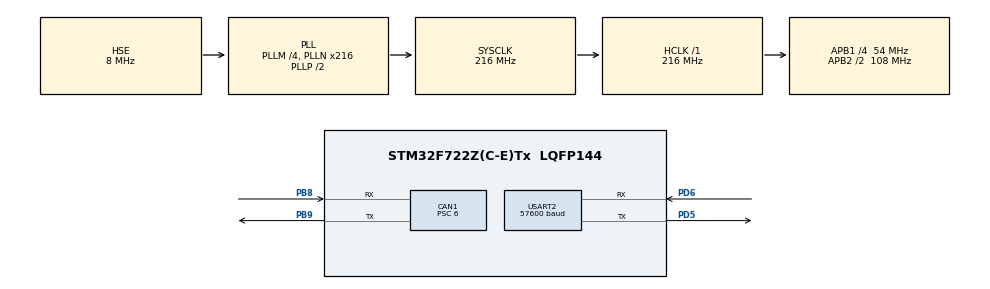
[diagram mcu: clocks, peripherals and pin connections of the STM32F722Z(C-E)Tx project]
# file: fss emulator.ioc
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CAN1.BS1=CAN_BS1_7TQ
CAN1.CalculateBaudRate=1000000
CAN1.CalculateTimeBit=1000
CAN1.CalculateTimeQuantum=111.11111111111111
CAN1.Prescaler=6
Dma.Request0=USART2_RX
Dma.USART2_RX.0.Direction=DMA_PERIPH_TO_MEMORY
Dma.USART2_RX.0.FIFOMode=DMA_FIFOMODE_DISABLE
Dma.USART2_RX.0.Instance=DMA1_Stream5
Dma.USART2_RX.0.MemDataAlignment=DMA_MDATAALIGN_BYTE
Dma.USART2_RX.0.MemInc=DMA_MINC_ENABLE
Dma.USART2_RX.0.Mode=DMA_NORMAL
Dma.USART2_RX.0.PeriphDataAlignment=DMA_PDATAALIGN_BYTE
Dma.USART2_RX.0.PeriphInc=DMA_PINC_DISABLE
Dma.USART2_RX.0.Priority=DMA_PRIORITY_LOW
Mcu.Family=STM32F7
Mcu.Name=STM32F722Z(C-E)Tx
Mcu.Package=LQFP144
NVIC.CAN1_RX0_IRQn=true\:0\:0\:false\:false\:true\:true\:true\:true
NVIC.DMA1_Stream5_IRQn=true\:0\:0\:false\:false\:true\:false\:true\:true
NVIC.PriorityGroup=NVIC_PRIORITYGROUP_4
NVIC.USART2_IRQn=true\:0\:0\:false\:false\:true\:true\:true\:true
PB8.Mode=CAN_Activate
PB8.Signal=CAN1_RX
PB9.Mode=CAN_Activate
PB9.Signal=CAN1_TX
PD5.Mode=Asynchronous
PD5.Signal=USART2_TX
PD6.Mode=Asynchronous
PD6.Signal=USART2_RX
PH0-OSC_IN.Mode=HSE-External-Clock-Source
PH0-OSC_IN.Signal=RCC_OSC_IN
PH1-OSC_OUT.Mode=HSE-External-Clock-Source
PH1-OSC_OUT.Signal=RCC_OSC_OUT
ProjectManager.HeapSize=0x200
ProjectManager.StackSize=0x400
ProjectManager.TargetToolchain=STM32CubeIDE
RCC.48MHZClocksFreq_Value=24000000
RCC.AHBFreq_Value=216000000
RCC.APB1CLKDivider=RCC_HCLK_DIV4
RCC.APB1Freq_Value=54000000
RCC.APB1TimFreq_Value=108000000
RCC.APB2CLKDivider=RCC_HCLK_DIV2
RCC.APB2Freq_Value=108000000
RCC.APB2TimFreq_Value=216000000
RCC.CortexFreq_Value=216000000
RCC.EnbaleCSS=true
RCC.HCLKFreq_Value=216000000
RCC.HSE_VALUE=8000000
RCC.HSI_VALUE=16000000
RCC.LSE_VALUE=32768
RCC.PLLM=4
RCC.PLLMUL=RCC_PLL_MUL9
RCC.PLLN=216
RCC.PLLQ=9
RCC.PLLSourceVirtual=RCC_PLLSOURCE_HSE
RCC.PRESCALERUSB=RCC_USBCLKSOURCE_PLL_DIV1_5
RCC.SYSCLKFreq_VALUE=216000000
RCC.SYSCLKSource=RCC_SYSCLKSOURCE_PLLCLK
RCC.SYSCLKSourceVirtual=RCC_SYSCLKSOURCE_PLLCLK
RCC.USBFreq_Value=48000000
RCC.VCOOutputFreq_Value=432000000
USART2.BaudRate=57600
USART2.VirtualMode-Asynchronous=VM_ASYNC
board=NUCLEO-F722ZE

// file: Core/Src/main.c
/* USER CODE BEGIN Header */
/**
  ******************************************************************************
  * @file           : main.c
  * @brief          : Main program body
  ******************************************************************************
  * @attention
  *
  * Copyright (c) 2025 STMicroelectronics.
  * All rights reserved.
  *
  * This software is licensed under terms that can be found in the LICENSE file
  * in the root directory of this software component.
  * If no LICENSE file comes with this software, it is provided AS-IS.
  *
  ******************************************************************************
  */
/* USER CODE END Header */
#include "main.h"

/* USER CODE BEGIN Includes */
#define FEND 0xC0
#include "core_cm7.h"
#include <string.h>

/* USER CODE END Includes */

/* USER CODE BEGIN PTD */
enum  nsp_command_code
{
	ping = 0,
	init = 1,
	peek = 2,
	poke = 3,
	telemetry = 4,
	crc = 6,
	app_telemetry = 7,
	app_command = 8,

};

enum  command_ack_byte
{
	ping_ack = 0xA0,
	init_ack = 0xA1,
	peek_ack = 0xA2,
	poke_ack = 0xA3,
	telemetry_ack = 0xA4,
	crc_ack = 0xA6,
	app_telemetry_ack = 0xA7,
	app_command_ack = 0xA8,

};

enum  fss_memory_map
{
	peek_flash_start = 0x00000000,
	flash_start = 0x00001000,
	special_test_mode = 0x00002000,
	flash_end	= 0x00007DFF,
	xram_start  = 0x00010000,
	xram_end    = 0x000107FF,
	iram_start  = 0x00020000,
	iram_end    = 0x000200FF,
	sfr_start   = 0x00030080,
	sfr_end     = 0x000300FF,
};

enum telemetry_address
{

	last_reset_reason = 0,
	reset_count = 1,
	framing_error_count = 2,
	runt_packet_count = 3,
	oversize_packet_size = 4,
	bad_crc_count = 5,

};

enum  last_reset_code
{

	power_cycle = 0,
	realtime_clock_reset = 1,
	flash_memory_reset = 2,
    comparator0_reset = 3,
	watchdog_timer_reset = 4,
	missing_clock_reset = 5,
	external_reset_pin_reset = 6,
	init_reset = 7,
	application_triggered_reset = 8,

};

enum  image_buffer
{
	operating_image = 4,
	offline_image   = 5,

};

enum app_telemetry_channel
{

	go_code_tlm = 0x0,
	exposure_tlm = 0x1,
	brightness_tlm = 0x2,
	temperature = 0x3,
	vector_float_tlm = 0x6,
	iteration_tlm = 0x7,
	process_time_tlm = 0x8,
	vector_int_tlm = 0x9,
	diag_tlm = 0xD,
	celsius_temperature = 0xE,
	addr = 0xF,
	reply_addr = 0x10

};

typedef struct{

	uint8_t command_code : 5;
	uint8_t ack_bit : 1 ;
	uint8_t b_bit : 1;
	uint8_t poll_bit : 1;

}nsp_message_control_field;

typedef struct{
	uint8_t aec_enabled : 1;
	uint8_t exposure_enabled :1;
	uint8_t dark_subtract_enabled : 1;
	uint8_t readout_enabled : 1;
	uint8_t cpy_to_offline_enabled : 1;
	uint8_t cpy_from_offline_enabled : 1;
	uint8_t fit_enabled : 1;
	uint8_t reserved : 1;

}go_code;

typedef struct{
	uint8_t fend_start;
	uint8_t dest_addr;
	uint8_t src_addr;
	uint8_t mcf;
	uint32_t init_addr;
	uint16_t crc;
	uint8_t fend_end;

}init_t;

typedef struct __attribute__((packed)) {
	uint8_t fend_start;
	uint8_t dest_addr;
	uint8_t src_addr;
	uint8_t mcf;
	uint8_t tlm_byte;
	float sun_vector_x;
	float sun_vector_y;
	float sun_vector_z;
	uint8_t fit_quality;
	uint8_t geometry_quality;
	uint16_t crc;
	uint8_t fend_end;
} sun_vector_t;

typedef struct{

	uint8_t fend_start;
	uint8_t dest_addr;
	uint8_t src_addr;
	uint8_t mcf;
	uint8_t tlm_byte;
	uint16_t crc;
	uint8_t fend_end;

}rx_sun_vector_t;

typedef struct{

	uint8_t fend_start;
	uint8_t dest_addr;
	uint8_t src_addr;
	uint8_t mcf;
	uint8_t byte;
	uint8_t go_code_byte;
	uint16_t crc;
	uint8_t fend_end;

}rx_application_command_t;

typedef struct{

	uint8_t fend_start;
	uint8_t dest_addr;
	uint8_t src_addr;
	uint8_t mcf;
	uint16_t crc;
	uint8_t fend_end;

}tx_application_command_t;

/* USER CODE END PTD */

CAN_HandleTypeDef hcan1;

UART_HandleTypeDef huart2;
DMA_HandleTypeDef hdma_usart2_rx;

/* USER CODE BEGIN PV */
const uint8_t device_id = 0x39;
nsp_message_control_field message_control_t;
uint8_t RxBuffer[64];
uint8_t float_sun_vector[4] = {0x39,0x11,0xA7,0x06};
uint16_t rxLen;
uint8_t isInit = 0;
uint16_t RxCRC;
uint16_t calCRC;

uint64_t time_start;
uint64_t time_diff;
uint32_t over_head;
init_t rx_init_t;
init_t tx_init_t;
rx_sun_vector_t rx_sun_vector;
sun_vector_t tx_sun_vector;
rx_application_command_t rx_app_command;
tx_application_command_t tx_app_command;
uint8_t command_type = 0;
float vector[3];
uint8_t can_data[8];
uint8_t buffer[22];
CAN_RxHeaderTypeDef RxHeader;

/* USER CODE END PV */

void SystemClock_Config(void);
static void MX_GPIO_Init(void);
static void MX_DMA_Init(void);
static void MX_CAN1_Init(void);
static void MX_USART2_UART_Init(void);
/* USER CODE BEGIN PFP */

uint16_t message_crc16(const uint8_t* data, size_t len) {
    const uint16_t POLY = 0x8408;
    uint16_t crc = 0xFFFF;

    while (len-- > 0) {
        uint8_t ch = *data++;
        for (int i = 0; i < 8; i++) {
            if ((ch ^ crc) & 0x01) {
                crc = (crc >> 1) ^ POLY;
            } else {
                crc >>= 1;
            }
            ch >>= 1;
        }
    }

    return crc;
}

uint8_t nsp_message_control_field_encode(uint8_t command_code,uint8_t ack_bit,uint8_t b_bit,uint8_t poll_bit)
{

	uint8_t msg_ctrl;

	msg_ctrl |= command_code & 0x1F;
	msg_ctrl |= (ack_bit & 0x01) << 5;
	msg_ctrl |= (b_bit & 0x01) << 6;
	msg_ctrl |= (poll_bit & 0x01) << 7;

    return msg_ctrl;

}

void nsp_message_control_field_decode(uint8_t message_control_field)
{
	message_control_t.command_code = message_control_field & 0x1F;
	message_control_t.ack_bit = (message_control_field >> 5) & 0x01;
	message_control_t.b_bit = (message_control_field >> 6) & 0x01;
	message_control_t.poll_bit = (message_control_field >> 7) & 0x01;
}

void DWT_Init(void) {
    // Enable DWT
    CoreDebug->DEMCR |= CoreDebug_DEMCR_TRCENA_Msk;

    // Reset the cycle counter
    DWT->CYCCNT = 0;

    // Enable the cycle counter
    DWT->CTRL |= DWT_CTRL_CYCCNTENA_Msk;
}

uint32_t DWT_GetClockCycle(void) {
    return DWT->CYCCNT;
}

void can_filter_config()
{

	CAN_FilterTypeDef canFilterConfig;

	canFilterConfig.FilterActivation = ENABLE;
	canFilterConfig.FilterBank = 0;  // Filter bank number
	canFilterConfig.FilterMode = CAN_FILTERMODE_IDMASK;  // Mask mode
	canFilterConfig.FilterScale = CAN_FILTERSCALE_32BIT; // 32-bit filter
	canFilterConfig.FilterIdHigh = 0x0000;
	canFilterConfig.FilterIdLow = 0x0000;
	canFilterConfig.FilterMaskIdHigh = 0x0000;
	canFilterConfig.FilterMaskIdLow = 0x0000;
	canFilterConfig.FilterFIFOAssignment = CAN_RX_FIFO0; // FIFO assignment
	canFilterConfig.SlaveStartFilterBank = 14; // For dual CAN (optional)

	if (HAL_CAN_ConfigFilter(&hcan1, &canFilterConfig) != HAL_OK) {
	    // Handle error
	}

}

/* USER CODE END PFP */

int main(void)
{

  /* USER CODE BEGIN 1 */
	tx_init_t.fend_start = FEND;
	tx_init_t.src_addr = device_id;
	tx_init_t.mcf = 0xA1;
	tx_init_t.fend_end = FEND;

	tx_app_command.fend_start = FEND;
	tx_app_command.src_addr = device_id;
    tx_app_command.mcf = 0xA8;
	tx_app_command.fend_end = FEND;

	tx_sun_vector.fend_start = FEND;
	tx_sun_vector.src_addr = device_id;
	tx_sun_vector.mcf = 0xA7;
	tx_sun_vector.fit_quality = 0xFD;
	tx_sun_vector.geometry_quality = 0x00;
	tx_sun_vector.fend_end = FEND;

  /* USER CODE END 1 */

  /* MCU Configuration--------------------------------------------------------*/

  /* Reset of all peripherals, Initializes the Flash interface and the Systick. */
  HAL_Init();

  /* Configure the system clock */
  SystemClock_Config();

  /* Initialize all configured peripherals */
  MX_GPIO_Init();
  MX_DMA_Init();
  MX_CAN1_Init();
  MX_USART2_UART_Init();
  /* USER CODE BEGIN 2 */
  DWT_Init();
  HAL_CAN_Start(&hcan1);
  can_filter_config();
  HAL_CAN_ActivateNotification(&hcan1, CAN_IT_RX_FIFO0_MSG_PENDING);
  HAL_UARTEx_ReceiveToIdle_DMA(&huart2, RxBuffer, sizeof(RxBuffer));
  /* USER CODE END 2 */

  /* Infinite loop */
  while (1)
  {

    /* USER CODE BEGIN 3 */

	  if(isInit == 1)
	  {
		    switch (command_type) {

		        case 2:
		            HAL_UART_Transmit(&huart2,(uint8_t*)&tx_sun_vector,22,1000 );
		            command_type = 0;
		            break;
		        case 3:
		            HAL_UART_Transmit(&huart2,(uint8_t *)&tx_app_command,sizeof(tx_app_command)-1,1000 );
		            command_type = 0;
		            break;
		        default:

		            break;
		    }

	  }

  }
  /* USER CODE END 3 */
}

void SystemClock_Config(void)
{
  RCC_OscInitTypeDef RCC_OscInitStruct = {0};
  RCC_ClkInitTypeDef RCC_ClkInitStruct = {0};

  /** Configure the main internal regulator output voltage
  */
  __HAL_RCC_PWR_CLK_ENABLE();
  __HAL_PWR_VOLTAGESCALING_CONFIG(PWR_REGULATOR_VOLTAGE_SCALE1);

  /** Initializes the RCC Oscillators according to the specified parameters
  * in the RCC_OscInitTypeDef structure.
  */
  RCC_OscInitStruct.OscillatorType = RCC_OSCILLATORTYPE_HSE;
  RCC_OscInitStruct.HSEState = RCC_HSE_BYPASS;
  RCC_OscInitStruct.PLL.PLLState = RCC_PLL_ON;
  RCC_OscInitStruct.PLL.PLLSource = RCC_PLLSOURCE_HSE;
  RCC_OscInitStruct.PLL.PLLM = 4;
  RCC_OscInitStruct.PLL.PLLN = 216;
  RCC_OscInitStruct.PLL.PLLP = RCC_PLLP_DIV2;
  RCC_OscInitStruct.PLL.PLLQ = 9;
  if (HAL_RCC_OscConfig(&RCC_OscInitStruct) != HAL_OK)
  {
    Error_Handler();
  }

  /** Activate the Over-Drive mode
  */
  if (HAL_PWREx_EnableOverDrive() != HAL_OK)
  {
    Error_Handler();
  }

  /** Initializes the CPU, AHB and APB buses clocks
  */
  RCC_ClkInitStruct.ClockType = RCC_CLOCKTYPE_HCLK|RCC_CLOCKTYPE_SYSCLK
                              |RCC_CLOCKTYPE_PCLK1|RCC_CLOCKTYPE_PCLK2;
  RCC_ClkInitStruct.SYSCLKSource = RCC_SYSCLKSOURCE_PLLCLK;
  RCC_ClkInitStruct.AHBCLKDivider = RCC_SYSCLK_DIV1;
  RCC_ClkInitStruct.APB1CLKDivider = RCC_HCLK_DIV4;
  RCC_ClkInitStruct.APB2CLKDivider = RCC_HCLK_DIV2;

  if (HAL_RCC_ClockConfig(&RCC_ClkInitStruct, FLASH_LATENCY_7) != HAL_OK)
  {
    Error_Handler();
  }

  /** Enables the Clock Security System
  */
  HAL_RCC_EnableCSS();
}

static void MX_CAN1_Init(void)
{

  hcan1.Instance = CAN1;
  hcan1.Init.Prescaler = 6;
  hcan1.Init.Mode = CAN_MODE_NORMAL;
  hcan1.Init.SyncJumpWidth = CAN_SJW_1TQ;
  hcan1.Init.TimeSeg1 = CAN_BS1_7TQ;
  hcan1.Init.TimeSeg2 = CAN_BS2_1TQ;
  hcan1.Init.TimeTriggeredMode = DISABLE;
  hcan1.Init.AutoBusOff = DISABLE;
  hcan1.Init.AutoWakeUp = DISABLE;
  hcan1.Init.AutoRetransmission = DISABLE;
  hcan1.Init.ReceiveFifoLocked = DISABLE;
  hcan1.Init.TransmitFifoPriority = DISABLE;
  if (HAL_CAN_Init(&hcan1) != HAL_OK)
  {
    Error_Handler();
  }

}

static void MX_USART2_UART_Init(void)
{

  huart2.Instance = USART2;
  huart2.Init.BaudRate = 57600;
  huart2.Init.WordLength = UART_WORDLENGTH_8B;
  huart2.Init.StopBits = UART_STOPBITS_1;
  huart2.Init.Parity = UART_PARITY_NONE;
  huart2.Init.Mode = UART_MODE_TX_RX;
  huart2.Init.HwFlowCtl = UART_HWCONTROL_NONE;
  huart2.Init.OverSampling = UART_OVERSAMPLING_16;
  huart2.Init.OneBitSampling = UART_ONE_BIT_SAMPLE_DISABLE;
  huart2.AdvancedInit.AdvFeatureInit = UART_ADVFEATURE_NO_INIT;
  if (HAL_UART_Init(&huart2) != HAL_OK)
  {
    Error_Handler();
  }

}

static void MX_DMA_Init(void)
{

  /* DMA controller clock enable */
  __HAL_RCC_DMA1_CLK_ENABLE();

  /* DMA interrupt init */
  /* DMA1_Stream5_IRQn interrupt configuration */
  HAL_NVIC_SetPriority(DMA1_Stream5_IRQn, 0, 0);
  HAL_NVIC_EnableIRQ(DMA1_Stream5_IRQn);

}

static void MX_GPIO_Init(void)
{

  /* GPIO Ports Clock Enable */
  __HAL_RCC_GPIOH_CLK_ENABLE();
  __HAL_RCC_GPIOD_CLK_ENABLE();
  __HAL_RCC_GPIOB_CLK_ENABLE();

}

/* USER CODE BEGIN 4 */

void HAL_UARTEx_RxEventCallback(UART_HandleTypeDef *huart, uint16_t Size)
{

    if (huart->Instance == USART2)
    {

        rxLen = Size;
        memcpy((uint8_t*)&RxCRC,RxBuffer+(rxLen-3),2);
        calCRC = message_crc16(RxBuffer+1, Size-4);

        if((RxCRC == calCRC) && (RxBuffer[1] == device_id))
        {
			switch (RxBuffer[3])
			{
				case 0xA1:

					  memcpy((uint8_t*)&rx_init_t,RxBuffer,rxLen);
					  if(rx_init_t.init_addr == (uint32_t)flash_start)
					  {
						isInit = 1;
					  }
					  tx_init_t.dest_addr = rx_init_t.src_addr;
					  tx_init_t.init_addr = rx_init_t.init_addr;
					  tx_init_t.crc = message_crc16((uint8_t*)&tx_init_t+1, Size-4);
					  HAL_UART_Transmit(&huart2, (uint8_t*)&tx_init_t, sizeof(init_t)-1, 1000);

					  break;

				case 0xA7:

					  memcpy((uint8_t*)&rx_sun_vector,RxBuffer,rxLen);
					  tx_sun_vector.dest_addr = rx_sun_vector.src_addr;
					  if(rx_sun_vector.tlm_byte == 0x06)
					  {
						  tx_sun_vector.tlm_byte = rx_sun_vector.tlm_byte;
						  tx_sun_vector.sun_vector_x = vector[0];
						  tx_sun_vector.sun_vector_y = vector[1];
						  tx_sun_vector.sun_vector_z = vector[2];
						  tx_sun_vector.crc = message_crc16((uint8_t*)&tx_sun_vector+1, 16);
						  if(isInit == 1)
						  {

						  	  command_type = 2;
						  }
					  }

					  break;

				case 0xA8:

					  memcpy((uint8_t*)&rx_app_command,RxBuffer,rxLen);
					  tx_app_command.dest_addr = rx_app_command.src_addr;
					  tx_app_command.crc = message_crc16((uint8_t*)&tx_app_command+1, 3);
					  if(isInit == 1)
					  {
					  	  command_type = 3;
					  }

					  break;

				default:

					  break;
			}

        }

        HAL_UARTEx_ReceiveToIdle_DMA(&huart2, RxBuffer, sizeof(RxBuffer));
    }

}

void HAL_CAN_RxFifo0MsgPendingCallback(CAN_HandleTypeDef *hcan)
{

	  if (HAL_CAN_GetRxMessage(&hcan1, CAN_RX_FIFO0, &RxHeader, can_data) != HAL_OK)
	  {
		  Error_Handler();

	  }

	  if(RxHeader.ExtId == 0x102)
	  {

		  memcpy((uint8_t*)vector,can_data,8);

	  }
	  else if(RxHeader.ExtId == 0x103)
	  {
		  memcpy((uint8_t*)vector+8,can_data,4);
	  }

}

/* USER CODE END 4 */

void Error_Handler(void)
{
  __disable_irq();
  while (1)
  {
  }
}
